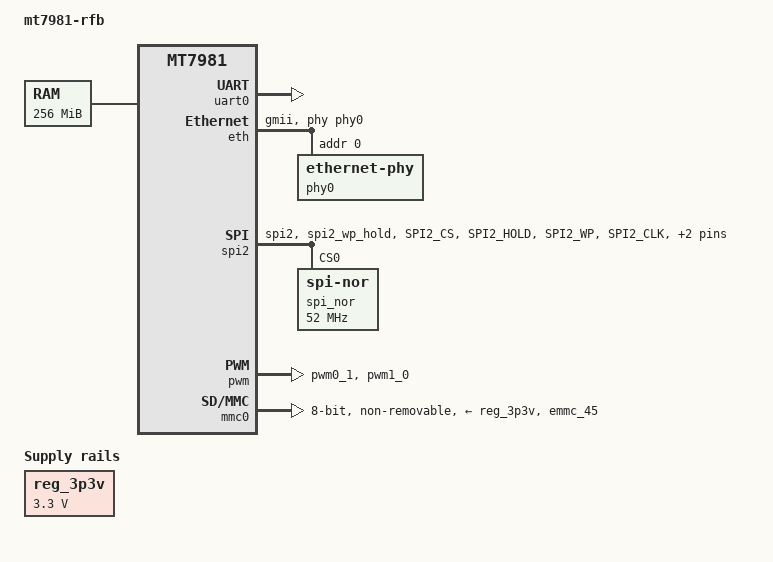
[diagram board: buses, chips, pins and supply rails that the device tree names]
// SPDX-License-Identifier: GPL-2.0
/*
 * Copyright (c) 2021 MediaTek Inc.
 * Author: Sam Shih <sam.shih@mediatek.com>
 */

/dts-v1/;
#include "mt7981.dtsi"
#include <dt-bindings/gpio/gpio.h>

/ {
	#address-cells = <1>;
	#size-cells = <1>;
	model = "mt7981-rfb";
	compatible = "mediatek,mt7981", "mediatek,mt7981-rfb";
	chosen {
		stdout-path = &uart0;
		tick-timer = &timer0;
	};

	memory@40000000 {
		device_type = "memory";
		reg = <0x40000000 0x10000000>;
	};

	reg_3p3v: regulator-3p3v {
                  compatible = "regulator-fixed";
                  regulator-name = "fixed-3.3V";
                  regulator-min-microvolt = <3300000>;
                  regulator-max-microvolt = <3300000>;
                  regulator-boot-on;
                  regulator-always-on;
        };
    signature {
        key-uap6_mt7981 {
            required = "image";
            algo = "sha1,rsa2048";
            rsa,r-squared = <0x6287e2cb 0xc460d8ca 0x4cc1ace0 0x6ca3aaac 0x53ee46d0 0xe1dae2ac 0x01473970 0xa3ff61a1 0xaf0c39e4 0x519ff33e 0xee9dbd99 0x606c0e1a 0x56f9364b 0xab483191 0xe315d6c3 0x59397ec4 0x72ad564f 0x3bc0f54a 0x653ac516 0x86c2aea7 0xc2dfadec 0xc71d6232 0x0e025580 0xed7eb97a 0x61f5a270 0x0dfb5155 0x674f17a2 0xd1859134 0xa8556eeb 0x1ea1cf22 0x3aaa78da 0x5661692d 0xc9f13edd 0x9728bdcb 0x72aebdc6 0x3920f9f3 0x998b08bf 0x591bb56f 0xc47b535c 0x67ef22ad 0x513546d2 0x6e735dc8 0xb09fdae4 0x24e0763a 0x19a8a888 0x784c6cad 0x63402b86 0x5b21fb45 0x790f6fd0 0xa259899e 0xf21d25cf 0x34da823c 0xe361bd66 0x1936ec22 0x2d95126e 0x90f51647 0x924e75c3 0x312aef69 0x6341e159 0xa1c36ae0 0xadabe650 0x3e347ad4 0x3f861e04 0x5390f317>;
            rsa,modulus = <0xb21f1d43 0xe7510128 0x79bd1bb7 0x3ded84fa 0x4e24d12b 0x9c5d65eb 0xaebfabc1 0xc99a73c5 0xcaf59dfb 0xb7ce03e2 0xae7bad5f 0xe47000c7 0x9c2f4b68 0x5fc5f3ee 0x0ddc8184 0x11b48910 0x2aa6a7ea 0xba4f494a 0x76d5bc84 0x9fd2d379 0x9c6e8cf3 0x2157d6b0 0x51875c09 0x810497de 0xb06cff7a 0x72f08c56 0x679a9cbe 0x0de0e76b 0x53b0b2ec 0xc593a47b 0xf00191f8 0x609bb855 0xf4e4cdf5 0x9266e03f 0x83d90407 0xb7828791 0xd1b8ce4b 0x495d8c29 0xb02a31f6 0x3a25e41d 0xe58ffec2 0x8ccd7a0c 0x5008a039 0xa95a3012 0xe3ca24b9 0x72ae52bc 0x0cb46409 0xdac1ff61 0xf74c3f7f 0x89ae915d 0x69fab5cc 0x61771f78 0x07f47dec 0x1ed8275f 0x763ea18e 0xe4293aa4 0xa539703d 0xb4cb15c7 0xd0bda4b9 0xe767e07f 0x61f63f53 0x3a201379 0xbbcd6121 0x4484bfd3>;
            rsa,exponent = <0x00000000 0x00010001>;
            rsa,n0-inverse = <0x37210fa5>;
            rsa,num-bits = <0x00000800>;
            key-name-hint = "uap6_mt7981";
        };
    };
};

&uart0 {
	status = "okay";
};

&uart1 {
	pinctrl-names = "default";
	pinctrl-0 = <&uart1_pins>;
	status = "disabled";
};

&eth {
	status = "okay";
    /*
	mediatek,gmac-id = <0>;
	phy-mode = "sgmii";
	mediatek,switch = "mt7531";
	reset-gpios = <&gpio 39 GPIO_ACTIVE_HIGH>;

	fixed-link {
		speed = <1000>;
		full-duplex;
	};
    */
    mediatek,gmac-id = <1>;
    phy-mode = "gmii";
    phy-handle = <&phy0>;

	phy0: ethernet-phy@0 {
	    reg = <0>;
	};
};

&pinctrl {
	spic_pins: spi1-pins-func-1 {
		mux {
			function = "spi";
			groups = "spi1_1";
		};
	};

	spi2_flash_pins: spi2-spi2-pins {
		mux {
			function = "spi";
			groups = "spi2", "spi2_wp_hold";
		};

		conf-pu {
			pins = "SPI2_CS", "SPI2_HOLD", "SPI2_WP";
			drive-strength = <MTK_DRIVE_8mA>;
			bias-pull-down = <MTK_PUPD_SET_R1R0_00>;
		};

		conf-pd {
			pins = "SPI2_CLK", "SPI2_MOSI", "SPI2_MISO";
			drive-strength = <MTK_DRIVE_8mA>;
			bias-pull-down = <MTK_PUPD_SET_R1R0_00>;
		};
	};


	uart1_pins: spi1-pins-func-3 {
		mux {
			function = "uart";
			groups = "uart1_2";
		};
	};

	/* pin15 as pwm0 */
	one_pwm_pins: one-pwm-pins {
		mux {
			function = "pwm";
			groups = "pwm0_1";
		};
	};

	/* pin15 as pwm0 and pin14 as pwm1 */
	two_pwm_pins: two-pwm-pins {
		mux {
			function = "pwm";
			groups = "pwm0_1", "pwm1_0";
		};
	};

	/* pin15 as pwm0, pin14 as pwm1, pin7 as pwm2 */
	three_pwm_pins: three-pwm-pins {
		mux {
			function = "pwm";
			groups = "pwm0_1", "pwm1_0", "pwm2";
		};
	};

	mmc0_pins_default: mmc0default {
		mux {
			function = "flash";
			groups =  "emmc_45";
		};
	};
};

&spi2 {
	#address-cells = <1>;
	#size-cells = <0>;
	pinctrl-names = "default";
	pinctrl-0 = <&spi2_flash_pins>;
	status = "okay";
	must_tx;
	enhance_timing;
	dma_ext;
	ipm_design;
	support_quad;
	tick_dly = <1>;
	sample_sel = <0>;

	spi_nor@0 {
		compatible = "jedec,spi-nor";
		reg = <0>;
		spi-max-frequency = <52000000>;
	};
};

&pwm {
	pinctrl-names = "default";
	pinctrl-0 = <&two_pwm_pins>;
	status = "okay";
};

&watchdog {
	status = "disabled";
};

&mmc0 {
        pinctrl-names = "default";
        pinctrl-0 = <&mmc0_pins_default>;
        bus-width = <8>;
        max-frequency = <52000000>;
        cap-mmc-highspeed;
        cap-mmc-hw-reset;
        vmmc-supply = <&reg_3p3v>;
        non-removable;
        status = "okay";
};
